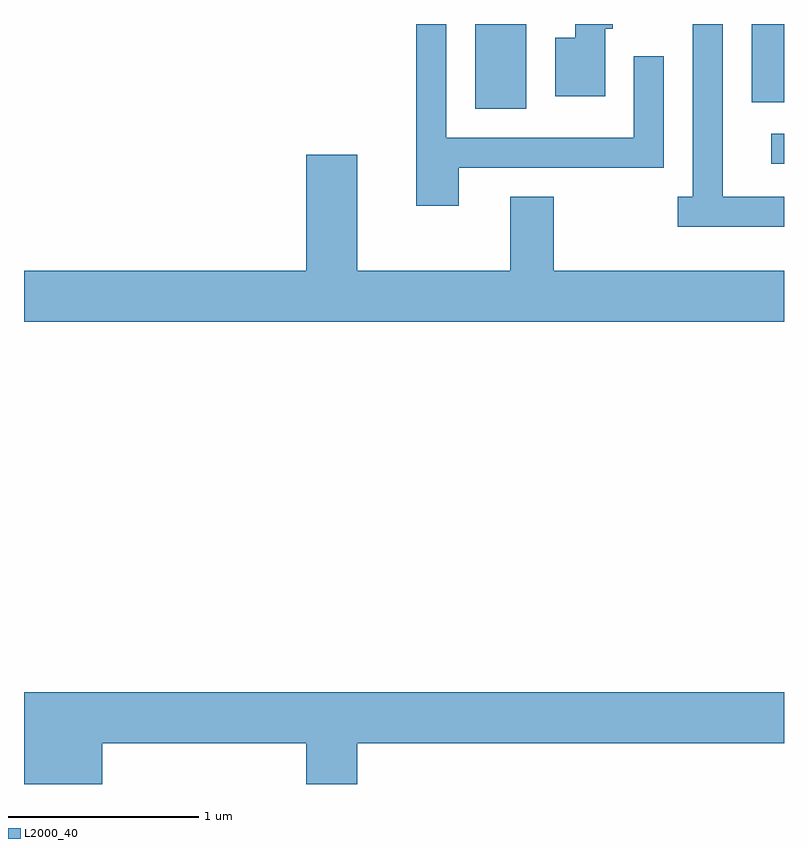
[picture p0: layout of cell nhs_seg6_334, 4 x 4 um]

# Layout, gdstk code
import gdstk
lib = gdstk.Library(unit=1e-6, precision=1e-09)
def R(c, l, rs):  # rectangles x0, y0, x1, y1
    for r in rs: c.add(gdstk.rectangle(r[:2], r[2:], *l))
def P(c, l, *ps):  # polygons
    for p in ps: c.add(gdstk.Polygon(p, *l))
L2000_40 = (2000, 40)

nhs_seg6_334 = lib.new_cell('nhs_seg6_334')
R(nhs_seg6_334, L2000_40, [(197.543,1657.426,197.611,1657.584), (195.986,1657.716,196.254,1658.162), (197.441,1657.751,197.611,1658.162)])
P(nhs_seg6_334, L2000_40, [(195.899,1657.406),(196.979,1657.406),(196.979,1657.993),(196.821,1657.993),(196.821,1657.564),(195.834,1657.564),(195.834,1658.162),(195.676,1658.162),(195.676,1657.206),(195.899,1657.206)],
  [(196.669,1658.136),(196.709,1658.136),(196.709,1658.162),(196.511,1658.162),(196.511,1658.089),(196.406,1658.089),(196.406,1657.781),(196.669,1657.781)],
  [(197.611,1657.254),(197.289,1657.254),(197.289,1658.162),(197.131,1658.162),(197.131,1657.254),(197.053,1657.254),(197.053,1657.096),(197.611,1657.096)],
  [(197.611,1656.864),(196.399,1656.864),(196.399,1657.254),(196.171,1657.254),(196.171,1656.864),(195.364,1656.864),(195.364,1657.474),(195.096,1657.474),(195.096,1656.864),(193.611,1656.864),(193.611,1656.596),(197.611,1656.596)],
  [(194.024,1654.376),(195.096,1654.376),(195.096,1654.162),(195.364,1654.162),(195.364,1654.376),(197.611,1654.376),(197.611,1654.644),(193.611,1654.644),(193.611,1654.162),(194.024,1654.162)])

lib.write_gds('nhs_seg6_334.gds')
